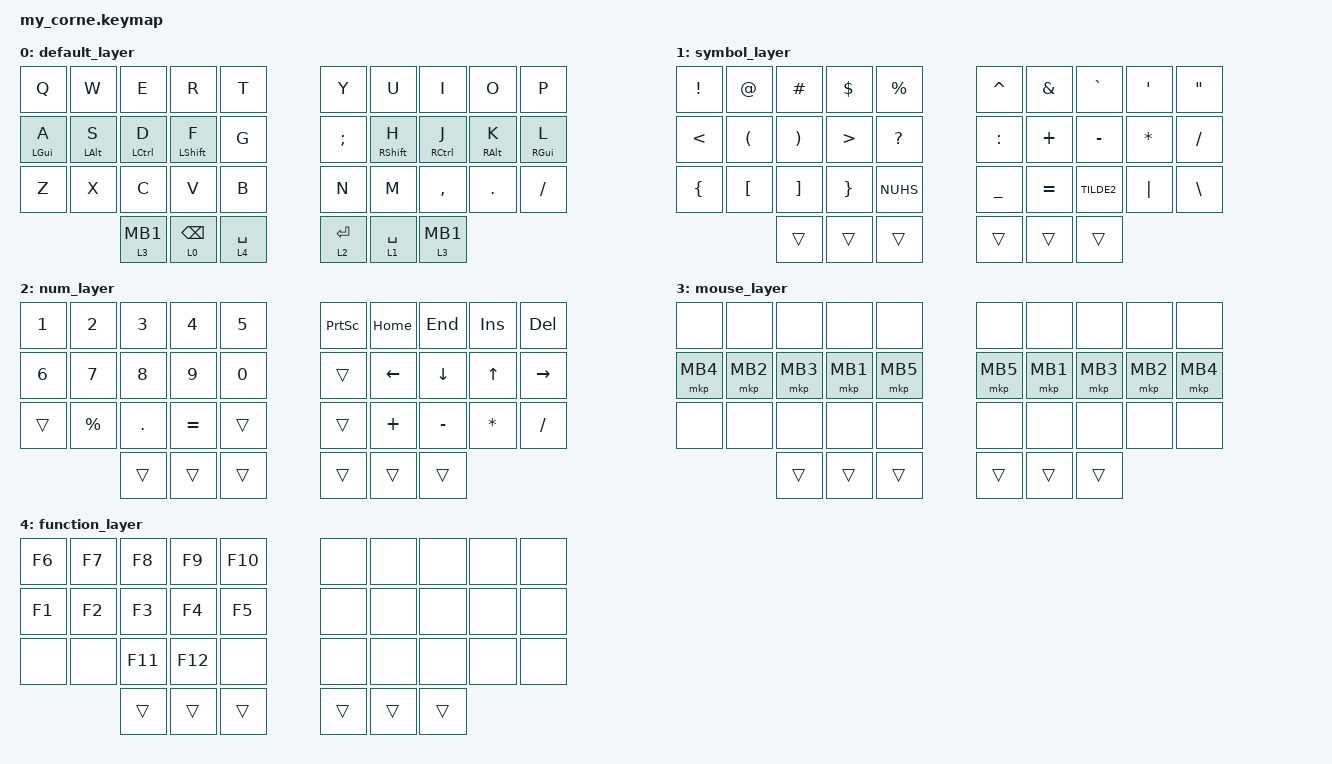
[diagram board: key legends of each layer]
/*
 * Copyright (c) 2020 The ZMK Contributors
 *
 * SPDX-License-Identifier: MIT
 */
 // IDEA: Have 2 keymaps (1 as close to QWERTY satndard as possible, 1 more opinionated) 

// Imports
// ---------------------------------------------------------------------------
#include <behaviors.dtsi>
#include <dt-bindings/zmk/keys.h>
#include <dt-bindings/zmk/bt.h>
#include <dt-bindings/zmk/mouse.h>

/ {
// Behaviors
// ---------------------------------------------------------------------------
    behaviors {
        mkt: mouse_key_tap {
            compatible = "zmk,behavior-hold-tap";
            #binding-cells = <2>;
            tapping-term-ms = <200>;   
            bindings = <&mo>, <&mkp>;
        }; 
    };

// Keymap
// ---------------------------------------------------------------------------
    keymap { compatible = "zmk,keymap";

// : DEFAULT Layer (0)
// -----------------------------------------------------------------
// |  Q  |  W  |  E  |  R  |  T  |   |  Y  |  U  |  I  |  O  |  P  | 
// |  A  |  S  |  D  |  F  |  G  |   |  ;  |  H  |  J  |  K  |  L  | 
//// GUI | ALT | CRL | SFT | HYP       HYP | SFT | CRL | ALT | GUI   // | Hold
////    ESC | TAB | SPC                         RET |     | BSP      // | Chord 
// |  Z  |  X  |  C  |  V  |  B  |   |  N  |  M  |  ,  |  .  |  /  | 
//             | MB1 | BSP | SPC |   | RET |     | MB1 |             // 1 space? ESC, TAB, DEL? (if we could get 4...)
////             L3  | L0  | L4        L2  |  L1 |  L3               // | Hold 
        default_layer{ bindings = <
   &kp Q      &kp W      &kp E       &kp R       &kp T         &kp Y     &kp U       &kp I       &kp O      &kp P    
   &mt LGUI A &mt LALT S &mt LCTRL D &mt LSHFT F &kp G         &kp SEMI  &mt RSHFT H  &mt RCTRL J &mt RALT K &mt RGUI L
   &kp Z      &kp X      &kp C       &kp V       &kp B         &kp N     &kp M       &kp COMMA   &kp DOT    &kp FSLH 
                         &mkt 3 MB1  &lt 0 BSPC  &lt 4 SPACE   &lt 2 RET &lt 1 SPACE &mkt 3 MB1
        >; };

// : SYMBOL Layer (1)
// ------------------------------------------------------------------
// |  !  |  @  |  £  |  $  |  %  |   |  ^  |  &  |  `  |  '  |  "  |
// |  <  |  (  |  )  |  >  |  ?  |   |  :  |  +  |  -  |  *  |  /  |
// |  {  |  [  |  ]  |  }  |  #  |   |  _  |  =  |  ~  |  |  |  \  |
//             | MB1 | BSP | SPC |   | RET |     | MB1 |             
////             L1  | L2  | L3        L4  |  L5 |  L6               
        symbol_layer{ bindings = <
   &kp EXCL &kp AT   &kp HASH &kp DLLR &kp PRCNT   &kp CARET &kp AMPS  &kp GRAVE  &kp APOS  &kp DQT
   &kp LT   &kp LPAR &kp RPAR &kp GT   &kp QMARK   &kp COLON &kp PLUS  &kp MINUS  &kp ASTRK &kp FSLH
   &kp LBRC &kp LBKT &kp RBKT &kp RBRC &kp NUHS    &kp UNDER &kp EQUAL &kp TILDE2 &kp PIPE  &kp BSLH
                     &trans   &trans   &trans      &trans    &trans    &trans    
        >; };

// : NUM Layer (2)
// -----------------------------------------------------------------
// |  1  |  2  |  3  |  4  |  5  |   |PSCRN| HOME| END | INS | DEL |
// |  6  |  7  |  8  |  9  |  0  |   |     | LFT | DWN |  UP | RGT |
// |     |  %  |  .  |  =  |     |   |     |  +  |  -  |  *  |  /  |
//             | MB1 | BSP | SPC |   | RET |     | MB1 |
////             L1  | L2  | L3        L4  |  L5 |  L6               
        num_layer{ bindings = <
   &kp N1 &kp N2    &kp N3  &kp N4    &kp N5   &kp PSCRN &kp HOME &kp END   &kp INS   &kp DEL
   &kp N6 &kp N7    &kp N8  &kp N9    &kp N0   &trans    &kp LEFT &kp DOWN  &kp UP    &kp RIGHT
   &trans &kp PRCNT &kp DOT &kp EQUAL &trans   &trans    &kp PLUS &kp MINUS &kp ASTRK &kp FSLH
                    &trans  &trans    &trans   &trans    &trans   &trans    
        >; };
// TODO: try 3x3 numpad?

// : MOUSE Layer (3)
// -----------------------------------------------------------------
// |     |     |     |     |     |   |     |     |     |     |     |
// | MB4 | MB2 | MB3 | MB1 | MB5 |   | MB5 | MB1 | MB3 | MB2 | MB4 |
// |     |     |     |     |     |   |     |     |     |     |     |
//             | MB1 | BSP | SPC |   | RET |     | MB1 |             
////             L1  | L2  | L3        L4  |  L5 |  L6               
        mouse_layer{ bindings = <
   &none    &none    &none    &none    &none     &none    &none    &none    &none    &none  
   &mkp MB4 &mkp MB2 &mkp MB3 &mkp MB1 &mkp MB5  &mkp MB5 &mkp MB1 &mkp MB3 &mkp MB2 &mkp MB4
   &none    &none    &none    &none    &none     &none    &none    &none    &none    &none  
                     &trans   &trans   &trans    &trans   &trans   &trans
        >; };

// : FUNCTION Layer (4)
// ------------------------------------------------------------------
// |  F6 |  F7 |  F8 |  F9 | F10 |   |     |     |     |     |     |
// |  F1 |  F2 |  F3 |  F4 |  F5 |   |     |     |     |     |     |
// |     |     | F11 | F12 |     |   |     |     |     |     |     |
//             | MB1 | BSP | SPC |   | RET |     | MB1 |             
////             L1  | L2  | L3        L4  |  L5 |  L6               
        function_layer{ bindings = <
   &kp F6 &kp F7 &kp F8  &kp F9  &kp F10   &none    &none    &none    &none    &none
   &kp F1 &kp F2 &kp F3  &kp F4  &kp F5    &none    &none    &none    &none    &none
   &none  &none  &kp F11 &kp F12 &none     &none    &none    &none    &none    &none
                 &trans  &trans  &trans    &trans   &trans   &trans
        >; };

// : MEDIA Layer
// ------------------------------------------------------------------
// |     |  PP | PRV | NXT |     |   |     |     |     |     |     |
// |  BD |  BU |  VD |  VU | MTE |   |     |     |     |     |     |
// |     |     |  SS |     |     |   |     |     |     |     |     |
//             |     |     |     |   |     |     |     |
// WHERE: BD=brightness-down, VU=volume-up, MTE=mute, PP=play-pause-toggle, SS=screenshot

// : SETTINGS Layer
// -----------------------------------------------------------------
// | RST | BCL |     |     |     |   |     |     |     |     |     |
// |  B1 |  B2 |  B3 |  B4 |     |   |     |     |     |     |     |
// |     |     |     |     |     |   |     |     |     |     |     |
//             |     |     |     |   |     |     |     |
// WHERE: RST=reset, BCL=bluetooth-clear

    };
};



// Layer Template
// ---------------------------------------------------------------------------

// : NAME Layer
// // -----------------------------------------------------------------
// // |     |     |     |     |     |   |     |     |     |     |     |
// // |     |     |     |     |     |   |     |     |     |     |     |
// // |     |     |     |     |     |   |     |     |     |     |     |
// //             |     |     |     |   |     |     |     |
        // <layer_name>_layer{ bindings = <
        // >; };


// Keymap Reference
// ---------------------------------------------------------------------------


// : DEFAULT Layer (0)
// -----------------------------------------------------------------
// |  Q  |  W  |  E  |  R  |  T  |   |  Y  |  U  |  I  |  O  |  P  | 
// |  A  |  S  |  D  |  F  |  G  |   |  ;  |  H  |  J  |  K  |  L  | 
//// GUI | ALT | CRL | SFT | HYP       HYP | SFT | CRL | ALT | GUI   // | Hold
////    ESC | TAB | SPC                         RET |     | BSP      // | Chord 
// |  Z  |  X  |  C  |  V  |  B  |   |  N  |  M  |  ,  |  .  |  /  | 
//             | MB1 | BSP | SPC |   | RET |     | MB1 |             // 1 space? ESC, TAB, DEL? (if we could get 4...)
////             L3  | L0  | L4        L2  |  L1 |  L3               // | Hold 

// : SYMBOL Layer (1)
// ------------------------------------------------------------------
// |  !  |  @  |  £  |  $  |  %  |   |  ^  |  &  |  `  |  '  |  "  |
// |  <  |  (  |  )  |  >  |  ?  |   |  :  |  +  |  -  |  *  |  /  |
// |  {  |  [  |  ]  |  }  |  #  |   |  _  |  =  |  ~  |  |  |  \  |
//             | MB1 | BSP | SPC |   | RET |     | MB1 |             
////             L3  | L0  | L4        L2  |  L1 |  L3               // | Hold 

// : NUM Layer (2)
// -----------------------------------------------------------------
// |  1  |  2  |  3  |  4  |  5  |   |PSCRN| HOME| END | INS | DEL |
// |  6  |  7  |  8  |  9  |  0  |   |     | LFT | DWN |  UP | RGT |
// |     |  %  |  .  |  =  |     |   |     |  +  |  -  |  *  |  /  |
//             | MB1 | BSP | SPC |   | RET |     | MB1 |
////             L3  | L0  | L4        L2  |  L1 |  L3               // | Hold 

// : MOUSE Layer (3)
// -----------------------------------------------------------------
// |     |     |     |     |     |   |     |     |     |     |     |
// | MB4 | MB2 | MB3 | MB1 | MB5 |   | MB5 | MB1 | MB3 | MB2 | MB4 |
// |     |     |     |     |     |   |     |     |     |     |     |
//             | MB1 | BSP | SPC |   | RET |     | MB1 |             
////             L3  | L0  | L4        L2  |  L1 |  L3               // | Hold 

// : FUNCTION Layer (4)
// ------------------------------------------------------------------
// |  F6 |  F7 |  F8 |  F9 | F10 |   |     |     |     |     |     |
// |  F1 |  F2 |  F3 |  F4 |  F5 |   |     |     |     |     |     |
// |     |     | F11 | F12 |     |   |     |     |     |     |     |
//             | MB1 | BSP | SPC |   | RET |     | MB1 |             
////             L3  | L0  | L4        L2  |  L1 |  L3               // | Hold 
